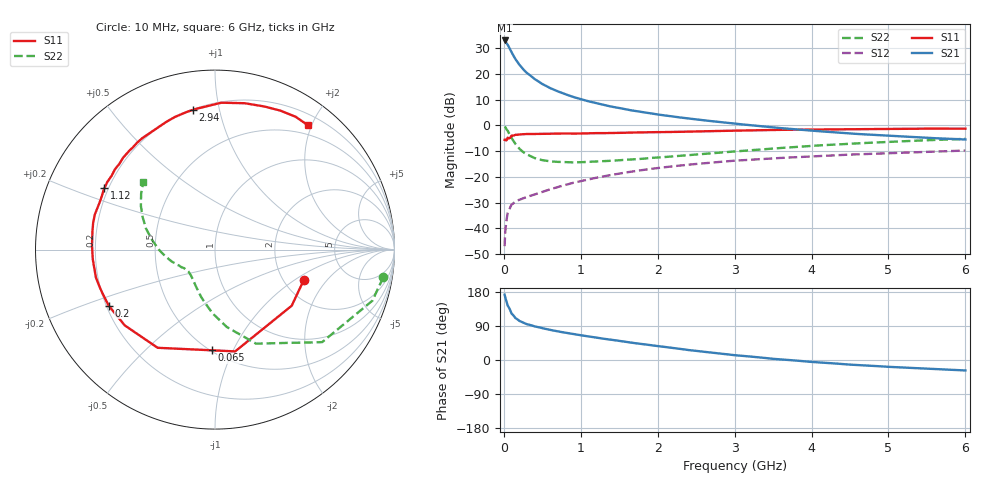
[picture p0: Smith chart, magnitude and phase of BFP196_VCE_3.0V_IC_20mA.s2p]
! Infineon Technologies  Discrete & RF Semiconductors
! BFP196
! VCE = 3.0 V,  IC =  20mA
! Common Emitter S-Parameters:  Jan 2016
# GHz  S  MA  R  50
!  f  S11  S21  S12  S22
! GHz  MAG  ANG  MAG  ANG  MAG  ANG  MAG  ANG
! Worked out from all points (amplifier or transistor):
!   210 points, 10 MHz to 6 GHz, reference 50 ohm
!   highest |S21| = 33.0 dB at 10 MHz (marker M1)
!   |S21| within 3 dB of that: start of sweep to 72.48 MHz
!   unconditionally stable (mu >= 1): 682.7 MHz to 3.421 GHz
!   at 185 MHz: K = 0.48, MSG = 26.7 dB, |S12| = -29.1 dB
!   at 1.52 GHz: K = 1.11, MAG = 10.6 dB, |S12| = -18.6 dB
!   at 6 GHz: K = 0.97, MSG = 2.1 dB, |S12| = -9.8 dB
!   S11 on the Smith chart (normalised r, x): 10 MHz: 2.56, -1.19; 65 MHz: 0.51, -0.83; 200 MHz: 0.21, -0.24; 1.12 GHz: 0.18, +0.25; 2.94 GHz: 0.20, +0.83; 6 GHz: 0.36, +1.95
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0.01  0.523 -18.9  44.82 172.3  0.0045 83.9  0.9499 -9.4
0.02  0.5295 -36.2  43 163.5  0.0091 74.0  0.9219 -18.0
0.05  0.5781 -78.8  37.01 143.6  0.0198 60.5  0.7889 -40.8
0.065  0.5613 -91.8  33.41 138.7  0.0223 54.9  0.7108 -46.8
0.1  0.6336 -120.3  26.39 122.5  0.0288 45.9  0.5719 -66.4
0.15  0.6567 -140.0  19.44 110.8  0.0331 41.2  0.4364 -81.3
0.2  0.6696 -152.2  15.27 103.4  0.0358 40.4  0.3559 -92.1
0.24  0.6727 -159.0  12.94 99.3  0.0377 40.6  0.3134 -98.5
0.3  0.6815 -166.8  10.45 94.5  0.0407 42.2  0.2732 -106.7
0.4  0.6831 -175.5  7.965 88.7  0.0455 44.9  0.2323 -117.0
0.5  0.6856 178.2  6.378 83.9  0.0509 47.8  0.2115 -124.4
0.6  0.6892 172.9  5.333 79.5  0.0572 49.7  0.2007 -129.8
0.7  0.695 167.7  4.6 75.4  0.0633 51.3  0.1958 -134.2
1.02  0.6974 154.6  3.176 64.7  0.0839 52.8  0.1934 -143.6
1.12  0.7046 151.0  2.898 61.6  0.0906 52.9  0.1965 -145.7
1.6  0.7241 134.9  2.031 47.4  0.1226 50.2  0.2156 -154.4
2.02  0.7417 122.5  1.618 36.2  0.1495 45.9  0.2387 -161.9
2.94  0.7879 99.0  1.108 14.1  0.203 35.1  0.3068 -178.8
3.1  0.7946 95.6  1.047 11.0  0.2107 33.0  0.32 178.2
4.1  0.8333 77.0  0.771 -6.4  0.2542 21.3  0.409 161.5
5.1  0.8571 63.5  0.618 -18.9  0.2928 10.2  0.486 148.1
6  0.8647 53.1  0.533 -27.6  0.3249 0.0  0.5488 136.7
